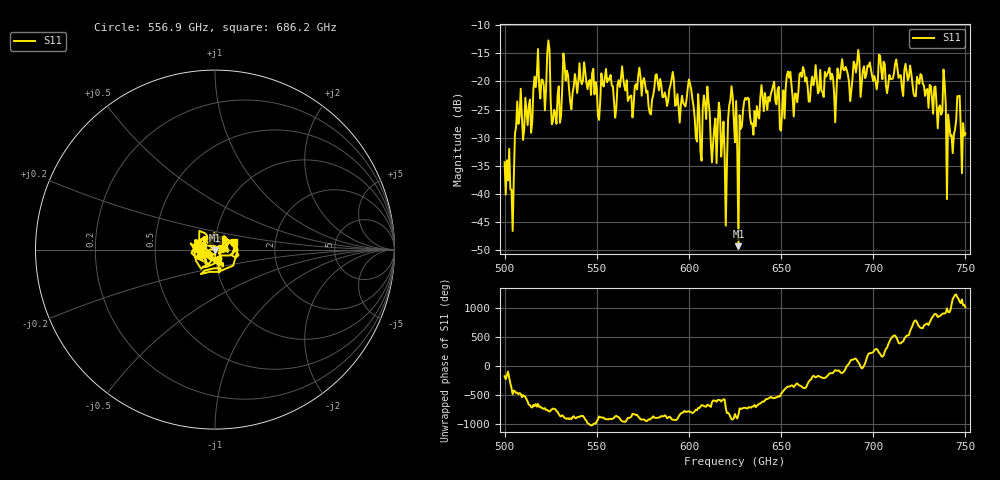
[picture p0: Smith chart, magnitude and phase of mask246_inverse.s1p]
!Created with skrf (http://scikit-rf.org).
# GHz S MA R 50.0
!freq magS11 angS11
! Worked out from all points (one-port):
!   401 points, 500 GHz to 750 GHz, reference 50 ohm
!   lowest |S11| = -49.3 dB at 626.9 GHz (marker M1), VSWR 1.01, Z = 49.8 - j0.295 ohm
!   |S11| at or under -10 dB: start of sweep to end of sweep
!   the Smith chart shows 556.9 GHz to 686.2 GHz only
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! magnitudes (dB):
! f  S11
! 500 GHz  -34.4
! 504.4 GHz  -46.6
! 507.5 GHz  -27.5
! 513.8 GHz  -23.2
! 516.9 GHz  -21.0
! 523.8 GHz  -12.7
! 526.9 GHz  -25.1
! 531.2 GHz  -21.4
! 562.5 GHz  -21.0
! 593.8 GHz  -22.3
! 600.6 GHz  -20.4
! 605.6 GHz  -25.6
! 609.4 GHz  -26.7
! 613.8 GHz  -28.3
! 617.5 GHz  -33.3
! 619.4 GHz  -33.2
! 622.5 GHz  -23.3
! 625 GHz  -30.8
! 626.9 GHz  -49.3
! 631.2 GHz  -23.3
! 635 GHz  -29.5
! 656.2 GHz  -22.8
! 687.5 GHz  -23.5
! 718.8 GHz  -19.8
! 738.1 GHz  -17.9
! 741.2 GHz  -27.8
! 745.6 GHz  -22.6
! 750 GHz  -29.2
